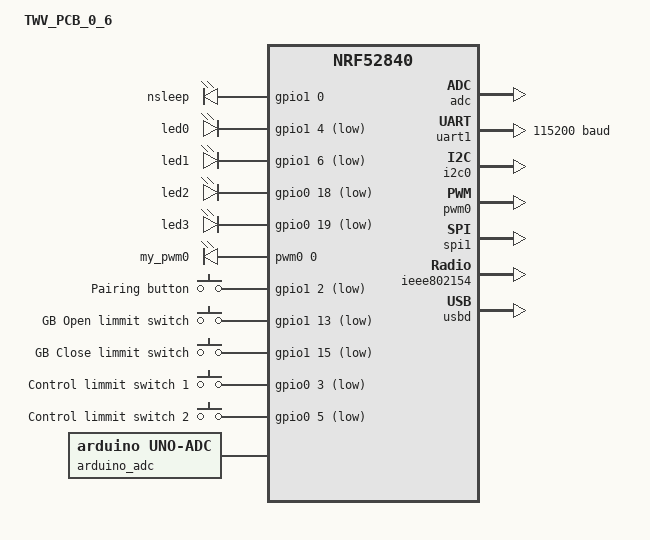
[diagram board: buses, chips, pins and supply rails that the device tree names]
/*
 * Copyright (c) 2017 Linaro Limited
 *
 * SPDX-License-Identifier: Apache-2.0
 */

/dts-v1/;
#include <nordic/nrf52840_qiaa.dtsi>
#include "twv_pcb_0_6-pinctrl.dtsi"
#include <zephyr/dt-bindings/input/input-event-codes.h>

/ {
	model = "TWV_PCB_0_6";
	compatible = "uhome,twv-pcb-0-6";

	chosen {
		zephyr,console = &uart0;
		zephyr,shell-uart = &uart0;
		zephyr,uart-mcumgr = &uart0;
		zephyr,bt-mon-uart = &uart0;
		zephyr,bt-c2h-uart = &uart0;
		zephyr,sram = &sram0;
		zephyr,flash = &flash0;
		zephyr,code-partition = &slot0_partition;
		zephyr,ieee802154 = &ieee802154;
	};

	motor {
		compatible = "gpio-leds";
		/*phase: motor_phase {
			gpios = <&gpio1 3 (GPIO_ACTIVE_HIGH)>;
		};
		enable: motor_enable {
			gpios = <&gpio1 1 (GPIO_ACTIVE_HIGH)>;
		};*/
		nsleep: motor_nsleep {
			gpios = <&gpio1 0 (GPIO_ACTIVE_HIGH)>;
		};
	};

	leds {
		compatible = "gpio-leds";
		led0: pairing_led {
			gpios = <&gpio1 4 (GPIO_ACTIVE_LOW)>;
		};

		led1: error_led {
			gpios = <&gpio1 6 (GPIO_ACTIVE_LOW)>;
		};

		led2: open_status_led {
			gpios = <&gpio0 18 (GPIO_ACTIVE_LOW)>;
		};

		led3: close_status_led {
			gpios = <&gpio0 19 (GPIO_ACTIVE_LOW)>;
		};
	};

	mypwm {
		compatible = "pwm-leds";
		my_pwm0: my_pwm_0 {
			pwms = 	<&pwm0 0 PWM_MSEC(20) PWM_POLARITY_NORMAL>,  
					<&pwm0 1 PWM_MSEC(20) PWM_POLARITY_NORMAL>,
					<&pwm0 2 PWM_MSEC(20) PWM_POLARITY_NORMAL>;
		};
	};
/* 	pwmleds {
	compatible = "pwm-leds";
	pwm_led0: pwm_led_0 {
		pwms = <&pwm0 0 PWM_MSEC(20) PWM_POLARITY_NORMAL>;
	};
};*/
	buttons {
		compatible = "gpio-keys";
		button_pairing: pairing {
			gpios = <&gpio1 2 (GPIO_ACTIVE_LOW)>;
			label = "Pairing button";
		};

		button_open: open {
			gpios = <&gpio1 13 (GPIO_ACTIVE_LOW)>;
			label = "GB Open limmit switch";
		};

		button_close: close {
			gpios = <&gpio1 15 (GPIO_ACTIVE_LOW)>;
			label = "GB Close limmit switch";
		};

		button_control_1: control_1 {
			gpios = <&gpio0 3 (GPIO_ACTIVE_LOW)>;
			label = "Control limmit switch 1";
		};

		button_control_2: control_2 {
			gpios = <&gpio0 5 (GPIO_ACTIVE_LOW)>;
			label = "Control limmit switch 2";
		};
	};

	arduino_adc: analog-connector {
		compatible = "arduino,uno-adc";
		#io-channel-cells = <1>;
		io-channel-map = <0 &adc 1>,	/* A0 = P0.3 = AIN1 */
				 <1 &adc 2>,	/* A1 = P0.4 = AIN2 */
				 <2 &adc 4>,	/* A2 = P0.28 = AIN4 */
				 <3 &adc 5>,	/* A3 = P0.29 = AIN5 */
				 <4 &adc 6>,	/* A4 = P0.30 = AIN6 */
				 <5 &adc 7>;	/* A5 = P0.31 = AIN7 */
	};

	/* These aliases are provided for compatibility with samples */
	aliases {
		nsleep = &nsleep;
		//phase = &phase;
		//enable = &enable;
		led0 = &led0;
		led1 = &led1;
		led2 = &led2;
		led3 = &led3;
		//pwm-led0 = &pwm_led0;
		my-pwm0 = &my_pwm0;
		pairing = &button_pairing;
		open = &button_open;
		close = &button_close;
		control1 = &button_control_1;
		control2 = &button_control_2;
		bootloader-led0 = &led0;
		mcuboot-led0 = &led0;
		watchdog0 = &wdt0;
	};
};

&adc {
	status = "okay";
};

&uicr {
	gpio-as-nreset;
};

&gpiote {
	status = "okay";
};

&gpio0 {
	status = "okay";
};

&gpio1 {
	status = "okay";
};

&uart1 {
	current-speed = <115200>;
	pinctrl-0 = <&uart1_default>;
	pinctrl-1 = <&uart1_sleep>;
	pinctrl-names = "default", "sleep";
};

&i2c0 {
	compatible = "nordic,nrf-twi";
	status = "okay";
	pinctrl-0 = <&i2c0_default>;
	pinctrl-1 = <&i2c0_sleep>;
	pinctrl-names = "default", "sleep";
};

&i2c1 {
	compatible = "nordic,nrf-twi";
	/* Cannot be used together with spi1. */
	/* status = "okay"; */
	pinctrl-0 = <&i2c1_default>;
	pinctrl-1 = <&i2c1_sleep>;
	pinctrl-names = "default", "sleep";
};

&pwm0 {
	status = "okay";
	pinctrl-0 = <&pwm0_default>;
	pinctrl-1 = <&pwm0_sleep>;
	pinctrl-names = "default", "sleep";
};

&spi0 {
	compatible = "nordic,nrf-spi";
	/* Cannot be used together with i2c0. */
	/* status = "okay"; */
	pinctrl-0 = <&spi0_default>;
	pinctrl-1 = <&spi0_sleep>;
	pinctrl-names = "default", "sleep";
};

&spi1 {
	compatible = "nordic,nrf-spi";
	status = "okay";
	pinctrl-0 = <&spi1_default>;
	pinctrl-1 = <&spi1_sleep>;
	pinctrl-names = "default", "sleep";
};

&spi2 {
	compatible = "nordic,nrf-spi";
	status = "disabled";
	pinctrl-0 = <&spi2_default>;
	pinctrl-1 = <&spi2_sleep>;
	pinctrl-names = "default", "sleep";
};


&ieee802154 {
	status = "okay";
};

&flash0 {

	partitions {
		compatible = "fixed-partitions";
		#address-cells = <1>;
		#size-cells = <1>;

		boot_partition: partition@0 {
			label = "mcuboot";
			reg = <0x00000000 0x0000C000>;
		};
		slot0_partition: partition@c000 {
			label = "image-0";
			reg = <0x0000C000 0x00076000>;
		};
		slot1_partition: partition@82000 {
			label = "image-1";
			reg = <0x00082000 0x00076000>;
		};

		/*
		 * The flash starting at 0x000f8000 and ending at
		 * 0x000fffff is reserved for use by the application.
		 */

		/*
		 * Storage partition will be used by FCB/LittleFS/NVS
		 * if enabled.
		 */
		storage_partition: partition@f8000 {
			label = "storage";
			reg = <0x000f8000 0x00008000>;
		};
	};
};

zephyr_udc0: &usbd {
	compatible = "nordic,nrf-usbd";
	status = "okay";
};
